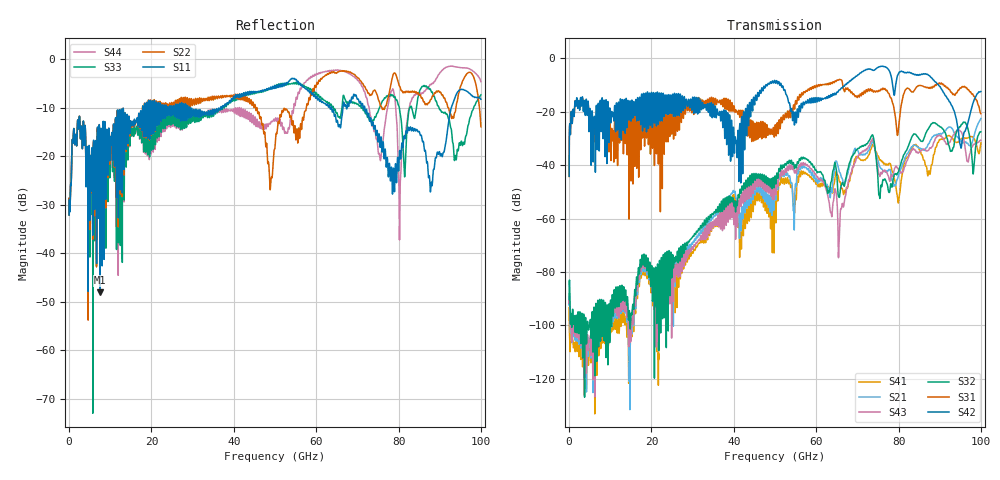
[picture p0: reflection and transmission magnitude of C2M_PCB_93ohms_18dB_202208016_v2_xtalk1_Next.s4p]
! Info: Touchstone file created by Circ.  Input file=Intel_C2M_200G_6p0in_202208016_staggered.circ
# Hz S RI R 50
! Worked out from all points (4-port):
!   10000 points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, 10 MHz to 100 GHz, reference 50 ohm
!   strongest paths, dB at 10 MHz, 25.01 GHz, 50.01 GHz, 75.01 GHz, 100 GHz:
!     S42: -44.2, -16.4, -8.6, -3.4, -12.4
!     S31: -44.2, -20.7, -25.3, -12.4, -20.8
!     S32: -90.3, -79.0, -44.0, -45.2, -27.5
!     S43: -91.0, -80.5, -47.0, -41.6, -30.7
!     S21: -91.3, -76.8, -48.5, -38.2, -22.5
!     S41: -93.3, -76.2, -52.6, -36.5, -31.6
!   lowest |S11| = -48.1 dB at 7.56 GHz (marker M1), VSWR 1.01, Z = 50.1 - j0.374 ohm
!   |S11| at or under -10 dB: start of sweep to 17.86 GHz; 29.33 GHz to 36.8 GHz (7.475 GHz wide, 22.6 % of centre); 71.82 GHz to 92.82 GHz (21 GHz wide, 25.5 % of centre)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
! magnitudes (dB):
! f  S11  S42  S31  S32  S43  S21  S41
! 10 MHz  -32.1  -44.2  -44.2  -90.3  -91.0  -91.3  -93.3
! 7.56 GHz  -48.1  -15.8  -18.2  -96.6  -98.2  -99.3  -101.5
! 40.83 GHz  -7.6  -36.7  -19.9  -55.1  -62.7  -54.9  -54.6
! 73.5 GHz  -13.7  -4.2  -12.1  -28.9  -30.7  -31.6  -33.1
! 76.16 GHz  -17.6  -2.9  -11.2  -45.7  -42.2  -41.8  -38.7
! 95.2 GHz  -6.2  -33.6  -11.1  -24.8  -27.4  -31.1  -30.1
! 100 GHz  -8.3  -12.4  -20.8  -27.5  -30.7  -22.5  -31.6
